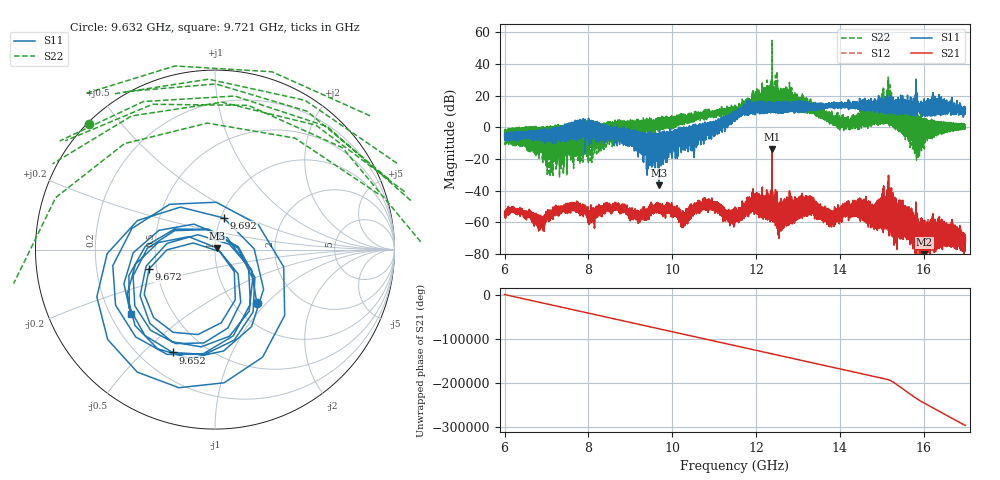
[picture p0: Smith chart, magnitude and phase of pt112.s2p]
#  HZ  S  RI  R  50.00
! Rohde & Schwarz Vector Network Analyzer
! Rohde-Schwarz,ZNA67-2Port,1332450062101215,3.01
! Created: UTC 10/19/2026, 3:00:46 PM
! freq[Hz]  re:S11  im:S11  re:S21  im:S21  re:S12  im:S12  re:S22  im:S22
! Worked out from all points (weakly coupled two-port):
!   11001 points, 6 GHz to 17 GHz, reference 50 ohm
!   highest |S21| = -13.99 dB at 12.38 GHz (marker M1); lowest = -82.6 dB at 16.02 GHz (marker M2)
!   lowest |S11| = -36.7 dB at 9.68 GHz (marker M3), VSWR 1.03, Z = 51.1 + j0.947 ohm
!   |S11| at or under -10 dB: 9.21198 GHz to 9.215494 GHz (3.515 MHz wide, 0.0381 % of centre); 9.316541 GHz to 9.320112 GHz (3.571 MHz wide, 0.0383 % of centre); 9.38585 GHz to 9.390017 GHz (4.168 MHz wide, 0.0444 % of centre) (the widest 3 of 146)
!   |S22| runs from -31.3 to 54.9 dB; largest |S21 - S12| = 0.0029
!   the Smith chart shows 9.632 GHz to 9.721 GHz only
!   S11 on the Smith chart (normalised r, x): 9.632 GHz: 1.26, -0.88; 9.652 GHz: 0.33, -0.62; 9.672 GHz: 0.45, -0.12; 9.692 GHz: 1.03, +0.38; 9.721 GHz: 0.28, -0.32
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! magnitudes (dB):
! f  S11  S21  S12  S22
! 6 GHz  -4.6  -54.8  -54.7  -2.4
! 6.902 GHz  -6.2  -58.4  -58.4  -12.9
! 7.834 GHz  -5.2  -55.2  -55.2  -9.7
! 9.205 GHz  -5.6  -53.1  -53.3  5.1
! 9.632 GHz  -8.4  -51.4  -51.4  -0.1
! 9.652 GHz  -4.2  -51.3  -51.5  1.0
! 9.667 GHz  -9.7  -50.2  -50.5  -2.2
! 9.672 GHz  -8.3  -49.4  -49.7  4.3
! 9.68 GHz  -36.7  -50.7  -50.9  2.7
! 9.692 GHz  -14.8  -53.7  -53.8  1.8
! 9.721 GHz  -4.6  -50.9  -51.1  3.5
! 10.27 GHz  -0.7  -57.0  -57.3  6.7
! 10.93 GHz  -4.9  -51.8  -51.7  7.0
! 11.5 GHz  5.5  -56.4  -56.3  9.4
! 12.38 GHz  10.0  -14.0  -13.9  54.9
! 12.59 GHz  12.3  -54.8  -54.4  15.0
! 13.33 GHz  11.9  -52.5  -52.3  10.2
! 13.78 GHz  14.5  -56.5  -56.4  3.3
! 14.2 GHz  13.8  -50.4  -50.5  3.6
! 15.17 GHz  11.0  -61.1  -60.7  3.4
! 16.02 GHz  9.6  -82.6  -82.2  -13.7
! 17 GHz  11.4  -71.7  -73.8  1.5
